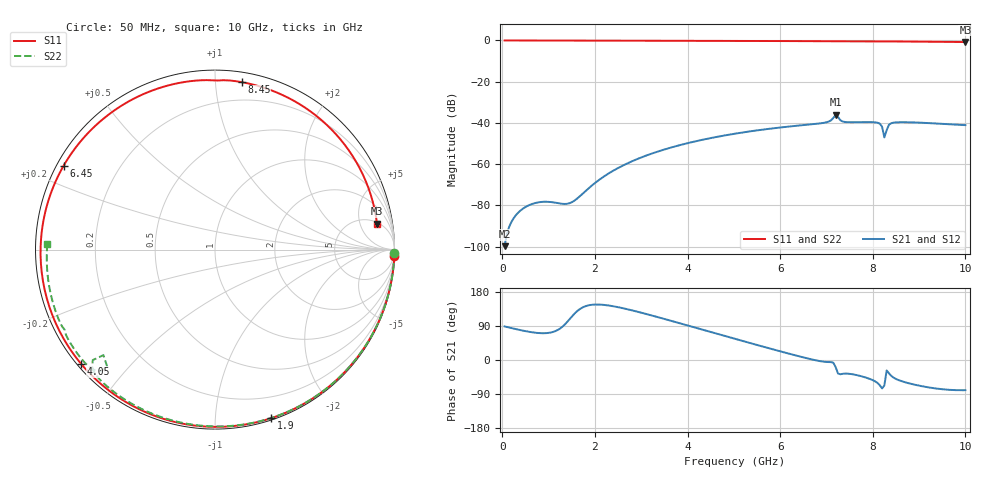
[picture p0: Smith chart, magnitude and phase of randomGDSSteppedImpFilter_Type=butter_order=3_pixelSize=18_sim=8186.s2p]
! freq	dB(S11)	phase(S11)	dB(S12)	phase(S12)
!  dB(S21)	phase(S21)	dB(S22)	phase(S22)
!S-par simulation data
#  GHz  S  DB  R 50
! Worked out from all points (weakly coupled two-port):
!   200 points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, 50 MHz to 10 GHz, reference 50 ohm
!   highest |S21| = -36.04 dB at 7.2 GHz (marker M1); lowest = -99.8 dB at 50 MHz (marker M2)
!   lowest |S11| = -0.8 dB at 10 GHz (marker M3), VSWR 22.29, Z = 272 + j477 ohm
!   |S11| at or under -10 dB: nowhere
!   |S22| runs from -1.4 to 0.0 dB; largest |S21 - S12| = 0
!   S11 on the Smith chart (normalised r, x): 50 MHz: 0, -58; 1.9 GHz: 0.01, -1.39; 4.05 GHz: 0.01, -0.37; 6.45 GHz: 0.02, +0.26; 8.45 GHz: 0.07, +1.17; 10 GHz: 5, +10
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0.05  -0.00 -2.0  -99.76 88.5  -99.76 88.5  -0.00 -1.1
0.7  -0.04 -27.4  -78.91 72.2  -78.91 72.2  -0.02 -14.8
1.4  -0.07 -53.7  -79.21 100.3  -79.21 100.3  -0.04 -29.4
1.75  -0.08 -66.3  -74.01 139.6  -74.01 139.6  -0.05 -36.6
1.9  -0.09 -71.6  -71.01 145.2  -71.01 145.2  -0.05 -39.6
2.55  -0.11 -93.5  -61.28 138.1  -61.28 138.1  -0.07 -52.6
3.4  -0.14 -120.2  -53.57 111.7  -53.57 111.7  -0.09 -69.0
4.05  -0.17 -139.5  -49.55 89.5  -49.55 89.5  -0.11 -81.1
5.05  -0.22 -168.1  -45.12 55.0  -45.12 55.0  -0.15 -99.0
5.75  -0.27 171.8  -42.88 31.3  -42.88 31.3  -0.19 -111.1
6.45  -0.32 150.9  -41.16 8.4  -41.16 8.4  -0.23 -123.1
6.7  -0.34 143.2  -40.62 1.0  -40.62 1.0  -0.25 -127.5
7.05  -0.37 131.9  -39.33 -5.5  -39.33 -5.5  -0.37 -134.7
7.2  -0.38 127.0  -36.04 -19.5  -36.04 -19.5  -1.36 -136.6
7.4  -0.40 120.2  -39.55 -35.8  -39.55 -35.8  -0.39 -136.3
8.15  -0.49 92.7  -40.33 -66.3  -40.33 -66.3  -0.39 -150.3
8.2  -0.51 90.8  -41.78 -75.1  -41.78 -75.1  -0.41 -151.2
8.25  -0.52 89.1  -47.03 -67.3  -47.03 -67.3  -0.45 -151.9
8.35  -0.48 85.1  -40.85 -35.3  -40.85 -35.3  -0.42 -153.2
8.45  -0.49 81.0  -39.85 -46.6  -39.85 -46.6  -0.41 -155.0
9.2  -0.60 48.3  -40.06 -72.2  -40.06 -72.2  -0.48 -167.9
10  -0.78 9.1  -41.05 -79.6  -41.05 -79.6  -0.59 178.0
